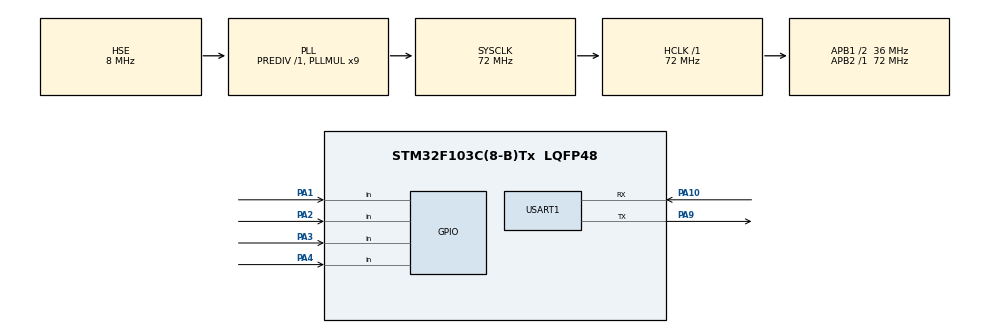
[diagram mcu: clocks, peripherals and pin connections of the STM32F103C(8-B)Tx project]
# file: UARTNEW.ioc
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Mcu.Family=STM32F1
Mcu.Name=STM32F103C(8-B)Tx
Mcu.Package=LQFP48
NVIC.PriorityGroup=NVIC_PRIORITYGROUP_4
NVIC.USART1_IRQn=true\:0\:0\:false\:false\:true\:true\:true\:true
PA1.GPIO_PuPd=GPIO_PULLDOWN
PA1.Signal=GPIO_Input
PA10.Mode=Asynchronous
PA10.Signal=USART1_RX
PA13.Mode=Serial_Wire
PA13.Signal=SYS_JTMS-SWDIO
PA14.Mode=Serial_Wire
PA14.Signal=SYS_JTCK-SWCLK
PA2.GPIO_PuPd=GPIO_PULLDOWN
PA2.Signal=GPIO_Input
PA3.GPIO_PuPd=GPIO_PULLDOWN
PA3.Signal=GPIO_Input
PA4.GPIO_PuPd=GPIO_PULLDOWN
PA4.Signal=GPIO_Input
PA9.Mode=Asynchronous
PA9.Signal=USART1_TX
PD0-OSC_IN.Mode=HSE-External-Oscillator
PD0-OSC_IN.Signal=RCC_OSC_IN
PD1-OSC_OUT.Mode=HSE-External-Oscillator
PD1-OSC_OUT.Signal=RCC_OSC_OUT
ProjectManager.HeapSize=0x200
ProjectManager.StackSize=0x400
ProjectManager.TargetToolchain=MDK-ARM V5.32
RCC.AHBFreq_Value=72000000
RCC.APB1CLKDivider=RCC_HCLK_DIV2
RCC.APB1Freq_Value=36000000
RCC.APB1TimFreq_Value=72000000
RCC.APB2Freq_Value=72000000
RCC.APB2TimFreq_Value=72000000
RCC.HCLKFreq_Value=72000000
RCC.PLLMUL=RCC_PLL_MUL9
RCC.PLLSourceVirtual=RCC_PLLSOURCE_HSE
RCC.SYSCLKFreq_VALUE=72000000
RCC.SYSCLKSource=RCC_SYSCLKSOURCE_PLLCLK
RCC.USBFreq_Value=72000000
USART1.VirtualMode=VM_ASYNC
board=custom

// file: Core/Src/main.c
/* USER CODE BEGIN Header */
/**
  ******************************************************************************
  * @file           : main.c
  * @brief          : Main program body
  ******************************************************************************
  * @attention
  *
  * Copyright (c) 2025 STMicroelectronics.
  * All rights reserved.
  *
  * This software is licensed under terms that can be found in the LICENSE file
  * in the root directory of this software component.
  * If no LICENSE file comes with this software, it is provided AS-IS.
  *
  ******************************************************************************
  */
/* USER CODE END Header */
#include "main.h"
#include "usart.h"
#include "gpio.h"

/* USER CODE BEGIN Includes */
#include "bsp_touchkey.h"
#include "stdio.h"
/* USER CODE END Includes */

void SystemClock_Config(void);

int main(void)
{
  /* USER CODE BEGIN 1 */
printf("TTP224 Touch Key Demo Start (HAL Library)\r\n");
  /* USER CODE END 1 */

  /* MCU Configuration--------------------------------------------------------*/

  /* Reset of all peripherals, Initializes the Flash interface and the Systick. */
  HAL_Init();

  /* Configure the system clock */
  SystemClock_Config();

  /* Initialize all configured peripherals */
  MX_GPIO_Init();
  MX_USART1_UART_Init();
  /* USER CODE BEGIN 2 */
  char*hello ="he\r\n";
  /* USER CODE END 2 */

  /* Infinite loop */
  /* USER CODE BEGIN WHILE */
  while (1)
  {

        if(Key_IN1_Scanf() == 1)
        {
            printf("Faucet Signal 1\r\n");
            HAL_Delay(300); // ????
        }

        if(Key_IN2_Scanf() == 1)
        {
            printf("Faucet Signal 2\r\n");
            HAL_Delay(300);
        }

        if(Key_IN3_Scanf() == 1)
        {
            printf("Faucet Signal 3\r\n");
            HAL_Delay(300);
        }

        if(Key_IN4_Scanf() == 1)
        {
            printf("Faucet Signal 4\r\n");
            HAL_Delay(300);
        }

        HAL_Delay(50);
    /* USER CODE END WHILE */

  }
}

void SystemClock_Config(void)
{
  RCC_OscInitTypeDef RCC_OscInitStruct = {0};
  RCC_ClkInitTypeDef RCC_ClkInitStruct = {0};

  /** Initializes the RCC Oscillators according to the specified parameters
  * in the RCC_OscInitTypeDef structure.
  */
  RCC_OscInitStruct.OscillatorType = RCC_OSCILLATORTYPE_HSE;
  RCC_OscInitStruct.HSEState = RCC_HSE_ON;
  RCC_OscInitStruct.HSEPredivValue = RCC_HSE_PREDIV_DIV1;
  RCC_OscInitStruct.HSIState = RCC_HSI_ON;
  RCC_OscInitStruct.PLL.PLLState = RCC_PLL_ON;
  RCC_OscInitStruct.PLL.PLLSource = RCC_PLLSOURCE_HSE;
  RCC_OscInitStruct.PLL.PLLMUL = RCC_PLL_MUL9;
  if (HAL_RCC_OscConfig(&RCC_OscInitStruct) != HAL_OK)
  {
    Error_Handler();
  }

  /** Initializes the CPU, AHB and APB buses clocks
  */
  RCC_ClkInitStruct.ClockType = RCC_CLOCKTYPE_HCLK|RCC_CLOCKTYPE_SYSCLK
                              |RCC_CLOCKTYPE_PCLK1|RCC_CLOCKTYPE_PCLK2;
  RCC_ClkInitStruct.SYSCLKSource = RCC_SYSCLKSOURCE_PLLCLK;
  RCC_ClkInitStruct.AHBCLKDivider = RCC_SYSCLK_DIV1;
  RCC_ClkInitStruct.APB1CLKDivider = RCC_HCLK_DIV2;
  RCC_ClkInitStruct.APB2CLKDivider = RCC_HCLK_DIV1;

  if (HAL_RCC_ClockConfig(&RCC_ClkInitStruct, FLASH_LATENCY_2) != HAL_OK)
  {
    Error_Handler();
  }
}

void Error_Handler(void)
{
  __disable_irq();
  while (1)
  {
  }
}
